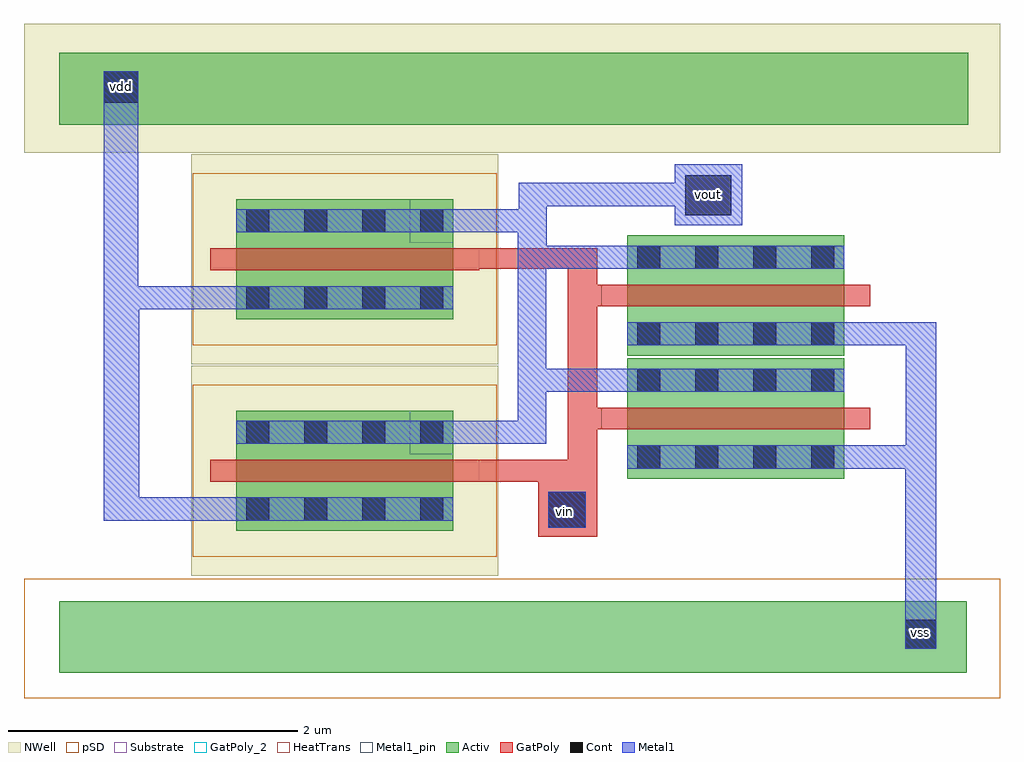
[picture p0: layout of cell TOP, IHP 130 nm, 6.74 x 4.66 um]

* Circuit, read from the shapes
.subckt TOP vdd vin vout vss
XM1 vout vin vss vss sg13_lv_nmos w=1.5u l=0.15u m=2
XM2 vout vin vdd n1 sg13_lv_pmos w=1.5u l=0.15u
XM3 vout vin vdd n2 sg13_lv_pmos w=1.5u l=0.15u
.ends

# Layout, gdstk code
from math import pi, radians
import gdstk
lib = gdstk.Library(unit=1e-6, precision=5e-09)
def R(c, l, rs):  # rectangles x0, y0, x1, y1
    for r in rs: c.add(gdstk.rectangle(r[:2], r[2:], *l))
def A(c, l, x, y, w, h, nx, ny, dx, dy):  # array of equal rectangles
    R(c, l, [(x+i*dx, y+j*dy, x+i*dx+w, y+j*dy+h) for i in range(nx) for j in range(ny)])
def P(c, l, *ps):  # polygons
    for p in ps: c.add(gdstk.Polygon(p, *l))
Activ = (1, 0)
GatPoly = (5, 0)
GatPoly_2 = (5, 2)
Cont = (6, 0)
Metal1 = (8, 0)
Metal1_pin = (8, 2)
pSD = (14, 0)
NWell = (31, 0)
Substrate = (40, 0)
HeatTrans = (51, 0)

nmos_1 = lib.new_cell('nmos$1')
R(nmos_1, Activ, [(0,0,0.3,0.3), (0,0,0.83,1.5), (0.53,0,0.83,0.3)])
R(nmos_1, GatPoly, [(0.34,-0.18,0.49,1.68)])
R(nmos_1, GatPoly_2, [(0.34,-0.18,0.49,1.68)])
A(nmos_1, Cont, 0.07, 0.07, 0.16, 0.16, 1, 4, 0, 0.4)
A(nmos_1, Cont, 0.6, 0.07, 0.16, 0.16, 1, 4, 0, 0.4)
R(nmos_1, Metal1, [(0.07,0,0.23,1.5), (0.6,0,0.76,1.5)])
R(nmos_1, Metal1_pin, [(0.07,0,0.23,1.5), (0.6,0,0.76,1.5)])
R(nmos_1, HeatTrans, [(0.34,-0.18,0.49,1.68)])
nmos_1.add(gdstk.Label('nmos', (0.415,0.75), layer=63, texttype=0))
nmos_1.add(gdstk.Label('nmos', (0.415,0.75), layer=51, texttype=0))

pmos = lib.new_cell('pmos')
R(pmos, Activ, [(0,0,0.3,0.3), (0,0,0.83,1.5), (0.53,0,0.83,0.3)])
R(pmos, GatPoly, [(0.34,-0.18,0.49,1.68), (0.34,-0.18,0.49,1.68)])
A(pmos, Cont, 0.07, 0.07, 0.16, 0.16, 1, 4, 0, 0.4)
A(pmos, Cont, 0.6, 0.07, 0.16, 0.16, 1, 4, 0, 0.4)
R(pmos, Metal1, [(0.07,0,0.23,1.5), (0.07,0,0.23,1.5), (0.6,0,0.76,1.5), (0.6,0,0.76,1.5)])
R(pmos, pSD, [(-0.18,-0.3,1.01,1.8)])
R(pmos, NWell, [(-0.31,-0.31,1.14,1.81)])
R(pmos, Substrate, [(0.53,0,0.83,0.3)])
R(pmos, HeatTrans, [(0.34,-0.18,0.49,1.68)])
pmos.add(gdstk.Label('pmos', (0.415,0.75), layer=63, texttype=0))
pmos.add(gdstk.Label('pmos', (0.415,0.75), layer=51, texttype=0))

top = lib.new_cell('TOP')
R(top, Activ, [(-6.465,-0.18,-0.2,0.315), (-6.465,3.605,-0.19,4.1)])
P(top, GatPoly, [(-3.16,0.76),(-3.16,1.14),(-3.565,1.14),(-3.565,1.29),(-2.955,1.29),(-2.955,2.61),(-3.565,2.61),(-3.565,2.75),(-2.75,2.75),(-2.75,2.5),(-2.725,2.5),(-2.725,2.35),(-2.75,2.35),(-2.75,1.65),(-2.725,1.65),(-2.725,1.5),(-2.75,1.5),(-2.75,0.76)])
R(top, GatPoly_2, [(-3.09,0.82,-2.83,1.07)])
R(top, Cont, [(-0.625,-0.015,-0.41,0.185), (-3.09,0.82,-2.83,1.07), (-2.145,2.98,-1.825,3.255), (-6.16,3.755,-5.92,3.975)])
R(top, Metal1, [(-3.09,0.82,-2.83,1.07)])
P(top, Metal1, [(-0.625,-0.015),(-0.625,1.23),(-1.045,1.23),(-1.045,1.39),(-0.62,1.39),(-0.62,2.08),(-1.045,2.08),(-1.045,2.24),(-0.41,2.24),(-0.41,-0.015)],
  [(-6.16,0.87),(-6.16,3.975),(-5.92,3.975),(-5.92,2.49),(-5.245,2.49),(-5.245,2.33),(-5.915,2.33),(-5.915,1.03),(-5.245,1.03),(-5.245,0.87)],
  [(-3.745,1.4),(-3.745,1.56),(-3.3,1.56),(-3.3,2.86),(-3.745,2.86),(-3.745,3.02),(-3.295,3.02),(-3.295,3.205),(-2.215,3.205),(-2.215,3.33),(-1.75,3.33),(-1.75,2.91),(-2.215,2.91),(-2.215,3.04),(-3.1,3.04),(-3.1,2.77),(-2.545,2.77),(-2.545,2.61),(-3.105,2.61),(-3.105,1.92),(-2.545,1.92),(-2.545,1.76),(-3.105,1.76),(-3.105,1.4)])
R(top, Metal1_pin, [(-0.625,-0.015,-0.41,0.185), (-2.145,2.98,-1.825,3.255), (-6.16,3.755,-5.92,3.975)])
P(top, pSD, [(-6.71,-0.355),(-6.71,0.47),(-0.615,0.47),(0.03,0.47),(0.03,-0.355)])
R(top, NWell, [(-6.71,3.41,0.03,4.3)])
top.add(gdstk.Reference(nmos_1, (-1.045,1.16), rotation=pi/2))
top.add(gdstk.Reference(pmos, (-3.745,0.8), rotation=pi/2))
top.add(gdstk.Reference(pmos, (-3.745,2.26), rotation=pi/2))
top.add(gdstk.Reference(nmos_1, (-1.045,2.01), rotation=pi/2))
top.add(gdstk.Label('vdd', (-6.04,3.87), layer=8, texttype=2))
top.add(gdstk.Label('vss', (-0.52,0.095), layer=8, texttype=2))
top.add(gdstk.Label('vout', (-1.985,3.125), layer=8, texttype=2))
top.add(gdstk.Label('vin', (-2.98,0.935), layer=5, texttype=2))

lib.write_gds('TOP.gds')
